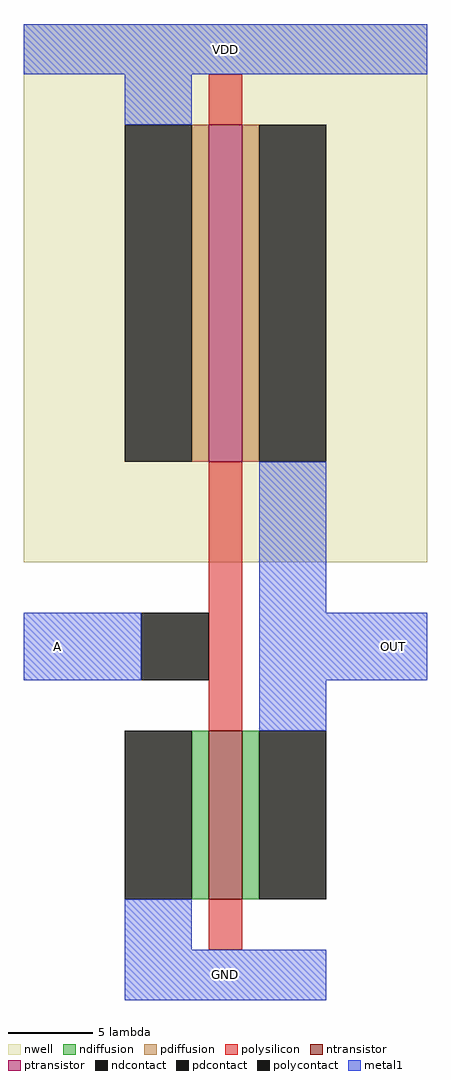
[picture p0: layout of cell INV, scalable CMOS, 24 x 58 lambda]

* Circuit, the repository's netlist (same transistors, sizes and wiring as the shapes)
* SPICE3 file created from INV.ext - technology: scmos

.option scale=0.09u

M1000 OUT A VDD w_n6_16# cmosp w=20 l=2
+  ad=100 pd=50 as=100 ps=50
M1001 OUT A GND Gnd cmosn w=10 l=2
+  ad=50 pd=30 as=50 ps=30

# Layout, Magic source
magic
tech scmos
<< nwell >>
rect -6 16 18 48
<< ntransistor >>
rect 5 -4 7 6
<< ptransistor >>
rect 5 22 7 42
<< ndiffusion >>
rect 4 -4 5 6
rect 7 -4 8 6
<< pdiffusion >>
rect 4 22 5 42
rect 7 22 8 42
<< ndcontact >>
rect 0 -4 4 6
rect 8 -4 12 6
<< pdcontact >>
rect 0 22 4 42
rect 8 22 12 42
<< polysilicon >>
rect 5 42 7 45
rect 5 6 7 22
rect 5 -7 7 -4
<< polycontact >>
rect 1 9 5 13
<< metal1 >>
rect -6 45 18 48
rect 0 42 4 45
rect 8 13 12 22
rect -6 9 1 13
rect 8 9 18 13
rect 8 6 12 9
rect 0 -7 4 -4
rect 0 -10 12 -7
<< labels >>
rlabel metal1 -6 9 -2 13 3 A
rlabel metal1 14 9 18 13 7 OUT
rlabel metal1 0 -10 12 -7 1 GND
rlabel metal1 -6 45 18 48 5 VDD
<< end >>
